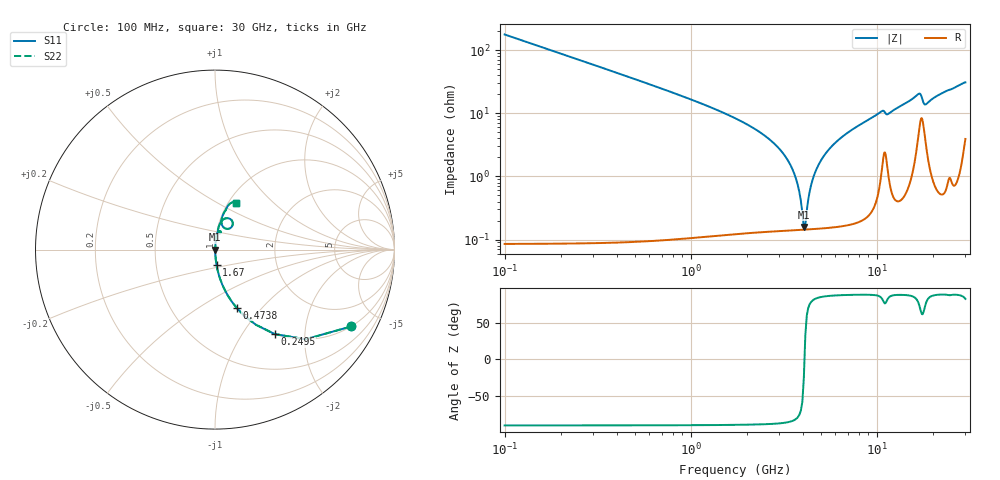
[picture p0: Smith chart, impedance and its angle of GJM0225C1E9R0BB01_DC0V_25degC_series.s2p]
!Murata Part Number: GJM0225C1E9R0BB01
!These Parameters are Measured in Series Mode Connection
!  o--ll--o
!Port1  Port2
!  o------o
!Operation Temp=25[degC], DC Bias Voltage=0[V]
!Freq. Start=100[MHz] Stop=30[GHz], 401[Steps]
!Data Generated on Feb 1, 2023
# Hz S RI R 50
!Freq.(Hz) S11(Real) S11(Imag) S21(Real) S21(Imag) S12(Real) S12(Imag) S22(Real) S22(Imag)
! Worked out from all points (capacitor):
!   401 points, 100 MHz to 30 GHz, reference 50 ohm
!   read as one part in series: C = 9 pF near 249.5 MHz
!   lowest |Z| = 158 mohm at 4.062 GHz (marker M1)
!   series resonance near 4.093 GHz, so ESL is about 170 pH
!   S11 on the Smith chart (normalised r, x): 100 MHz: 1.00, -3.53; 249.5 MHz: 1.00, -1.41; 473.8 MHz: 1.00, -0.74; 1.67 GHz: 1.00, -0.18; 30 GHz: 1.08, +0.61
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1e8  0.7574 -0.4284  0.2426 0.4284  0.2426 0.4284  0.7574 -0.4284
2.495e8  0.3329 -0.4706  0.6671 0.4706  0.6671 0.4706  0.3329 -0.4706
4.7375e8  0.12 -0.3237  0.88 0.3237  0.88 0.3237  0.12 -0.3237
9.2225e8  0.0329 -0.1757  0.9671 0.1757  0.9671 0.1757  0.0329 -0.1757
1.66975e9  0.00888 -0.0872  0.9911 0.0872  0.9911 0.0872  0.00888 -0.0872
3.31425e9  0.00172 -0.0183  0.9983 0.0183  0.9983 0.0183  0.00172 -0.0183
3.688e9  0.00149 -0.00899  0.9985 0.00899  0.9985 0.00899  0.00149 -0.00899
3.987e9  0.00143 -0.00225  0.9986 0.00225  0.9986 0.00225  0.00143 -0.00225
4.06175e9  0.00143 -0.000651  0.9986 0.000651  0.9986 0.000651  0.00143 -0.000651
4.21125e9  0.00145 0.00247  0.9986 -0.00247  0.9986 -0.00247  0.00145 0.00247
4.4355e9  0.0015 0.00696  0.9985 -0.00696  0.9985 -0.00696  0.0015 0.00696
4.585e9  0.00156 0.00984  0.9984 -0.00984  0.9984 -0.00984  0.00156 0.00984
5.10825e9  0.00187 0.0193  0.9981 -0.0193  0.9981 -0.0193  0.00187 0.0193
6.8275e9  0.00383 0.0465  0.9962 -0.0465  0.9962 -0.0465  0.00383 0.0465
1.01165e10  0.0139 0.0949  0.9861 -0.0949  0.9861 -0.0949  0.0139 0.0949
1.1462e10  0.0213 0.0925  0.9787 -0.0925  0.9787 -0.0925  0.0213 0.0925
1.505e10  0.0313 0.1515  0.9687 -0.1515  0.9687 -0.1515  0.0313 0.1515
1.691875e10  0.0837 0.1711  0.9163 -0.1711  0.9163 -0.1711  0.0837 0.1711
1.81895e10  0.0547 0.119  0.9453 -0.119  0.9453 -0.119  0.0547 0.119
2.005825e10  0.0362 0.1634  0.9638 -0.1634  0.9638 -0.1634  0.0362 0.1634
2.50665e10  0.0612 0.222  0.9388 -0.222  0.9388 -0.222  0.0612 0.222
3e10  0.1144 0.2607  0.8856 -0.2607  0.8856 -0.2607  0.1144 0.2607
